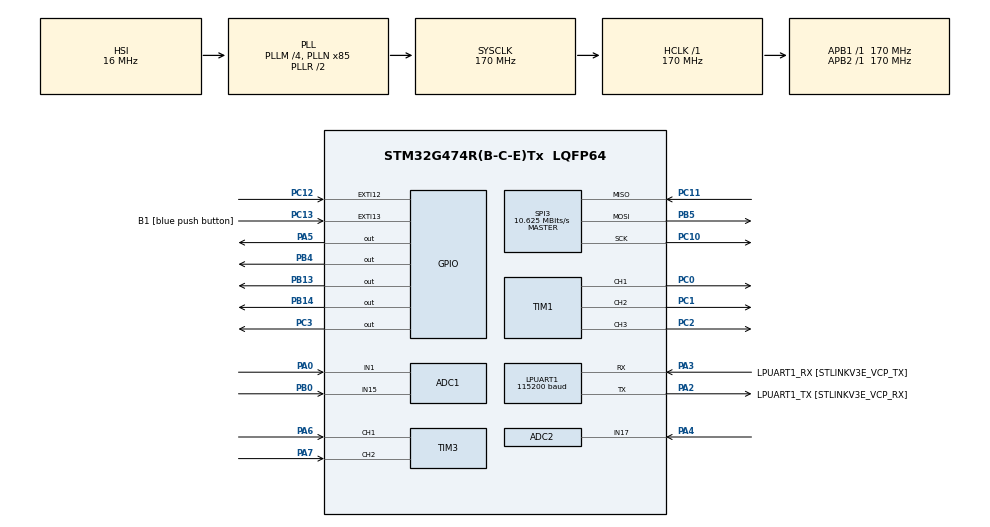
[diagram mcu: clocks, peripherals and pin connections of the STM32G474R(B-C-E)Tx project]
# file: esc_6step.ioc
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ADC1.EnableInjectedConversion=ENABLE
ADC1.EnableRegularConversion=DISABLE
ADC1.ExternalTrigInjecConv=ADC_EXTERNALTRIGINJEC_T1_TRGO
ADC1.InjNumberOfConversion=1
ADC1.InjectedChannel-2\#ChannelInjectedConversion=ADC_CHANNEL_1
ADC1.InjectedOffsetNumber-2\#ChannelInjectedConversion=ADC_OFFSET_NONE
ADC1.InjectedRank-2\#ChannelInjectedConversion=1
ADC1.InjectedSamplingTime-2\#ChannelInjectedConversion=ADC_SAMPLETIME_2CYCLES_5
ADC1.Mode=ADC_DUALMODE_INJECSIMULT
ADC1.TwoSamplingDelay=ADC_TWOSAMPLINGDELAY_1CYCLE
ADC1.master=1
ADC2.EnableInjectedConversion=ENABLE
ADC2.EnableRegularConversion=DISABLE
ADC2.InjNumberOfConversion=1
ADC2.InjectedChannel-11\#ChannelInjectedConversion=ADC_CHANNEL_17
ADC2.InjectedOffsetNumber-11\#ChannelInjectedConversion=ADC_OFFSET_NONE
ADC2.InjectedRank-11\#ChannelInjectedConversion=1
ADC2.InjectedSamplingTime-11\#ChannelInjectedConversion=ADC_SAMPLETIME_2CYCLES_5
ADC2.Mode=ADC_DUALMODE_INJECSIMULT
ADC2.Rank1_Channel=ADC_CHANNEL_17
Dma.Request0=SPI3_RX
Dma.Request1=SPI3_TX
Dma.SPI3_RX.0.Direction=DMA_PERIPH_TO_MEMORY
Dma.SPI3_RX.0.EventEnable=DISABLE
Dma.SPI3_RX.0.Instance=DMA1_Channel1
Dma.SPI3_RX.0.MemDataAlignment=DMA_MDATAALIGN_BYTE
Dma.SPI3_RX.0.MemInc=DMA_MINC_ENABLE
Dma.SPI3_RX.0.Mode=DMA_NORMAL
Dma.SPI3_RX.0.PeriphDataAlignment=DMA_PDATAALIGN_BYTE
Dma.SPI3_RX.0.PeriphInc=DMA_PINC_DISABLE
Dma.SPI3_RX.0.Polarity=HAL_DMAMUX_REQ_GEN_RISING
Dma.SPI3_RX.0.Priority=DMA_PRIORITY_LOW
Dma.SPI3_RX.0.RequestNumber=1
Dma.SPI3_RX.0.SignalID=NONE
Dma.SPI3_RX.0.SyncEnable=DISABLE
Dma.SPI3_RX.0.SyncPolarity=HAL_DMAMUX_SYNC_NO_EVENT
Dma.SPI3_RX.0.SyncRequestNumber=1
Dma.SPI3_RX.0.SyncSignalID=NONE
Dma.SPI3_TX.1.Direction=DMA_MEMORY_TO_PERIPH
Dma.SPI3_TX.1.EventEnable=DISABLE
Dma.SPI3_TX.1.Instance=DMA1_Channel2
Dma.SPI3_TX.1.MemDataAlignment=DMA_MDATAALIGN_BYTE
Dma.SPI3_TX.1.MemInc=DMA_MINC_ENABLE
Dma.SPI3_TX.1.Mode=DMA_NORMAL
Dma.SPI3_TX.1.PeriphDataAlignment=DMA_PDATAALIGN_BYTE
Dma.SPI3_TX.1.PeriphInc=DMA_PINC_DISABLE
Dma.SPI3_TX.1.Polarity=HAL_DMAMUX_REQ_GEN_RISING
Dma.SPI3_TX.1.Priority=DMA_PRIORITY_LOW
Dma.SPI3_TX.1.RequestNumber=1
Dma.SPI3_TX.1.SignalID=NONE
Dma.SPI3_TX.1.SyncEnable=DISABLE
Dma.SPI3_TX.1.SyncPolarity=HAL_DMAMUX_SYNC_NO_EVENT
Dma.SPI3_TX.1.SyncRequestNumber=1
Dma.SPI3_TX.1.SyncSignalID=NONE
LPUART1.BaudRate=115200
LPUART1.WordLength=UART_WORDLENGTH_8B
Mcu.Family=STM32G4
Mcu.Name=STM32G474R(B-C-E)Tx
Mcu.Package=LQFP64
NVIC.DMA1_Channel1_IRQn=true\:0\:0\:false\:false\:true\:false\:true\:true
NVIC.DMA1_Channel2_IRQn=true\:0\:0\:false\:false\:true\:false\:true\:true
NVIC.PriorityGroup=NVIC_PRIORITYGROUP_4
PA0.Mode=IN1-Single-Ended
PA0.Signal=ADC1_IN1
PA13.GPIO_Label=T_SWDIO
PA13.Mode=Serial_Wire
PA13.Signal=SYS_JTMS-SWDIO
PA14.GPIO_Label=T_SWCLK
PA14.Mode=Serial_Wire
PA14.Signal=SYS_JTCK-SWCLK
PA2.GPIO_Label=LPUART1_TX [STLINKV3E_VCP_RX]
PA2.Mode=Asynchronous
PA2.Signal=LPUART1_TX
PA3.GPIO_Label=LPUART1_RX [STLINKV3E_VCP_TX]
PA3.Mode=Asynchronous
PA3.Signal=LPUART1_RX
PA4.Mode=IN17-Single-Ended
PA4.Signal=ADC2_IN17
PA5.Signal=GPIO_Output
PA6.Signal=S_TIM3_CH1
PA7.Signal=S_TIM3_CH2
PB0.Mode=IN15-Single-Ended
PB0.Signal=ADC1_IN15
PB13.Signal=GPIO_Output
PB14.Signal=GPIO_Output
PB3.GPIO_Label=T_SWO
PB3.Signal=SYS_JTDO-SWO
PB4.Signal=GPIO_Output
PB5.Mode=Full_Duplex_Master
PB5.Signal=SPI3_MOSI
PC0.Signal=S_TIM1_CH1
PC1.Signal=S_TIM1_CH2
PC10.Mode=Full_Duplex_Master
PC10.Signal=SPI3_SCK
PC11.Mode=Full_Duplex_Master
PC11.Signal=SPI3_MISO
PC12.GPIO_ModeDefaultEXTI=GPIO_MODE_IT_RISING
PC12.Signal=GPXTI12
PC13.GPIO_Label=B1 [blue push button]
PC13.GPIO_ModeDefaultEXTI=GPIO_MODE_IT_RISING
PC13.Signal=GPXTI13
PC14-OSC32_IN.Mode=LSE-External-Oscillator
PC14-OSC32_IN.Signal=RCC_OSC32_IN
PC15-OSC32_OUT.Mode=LSE-External-Oscillator
PC15-OSC32_OUT.Signal=RCC_OSC32_OUT
PC2.Signal=S_TIM1_CH3
PC3.Signal=GPIO_Output
PF0-OSC_IN.Mode=HSE-External-Oscillator
PF0-OSC_IN.Signal=RCC_OSC_IN
PF1-OSC_OUT.Mode=HSE-External-Oscillator
PF1-OSC_OUT.Signal=RCC_OSC_OUT
ProjectManager.HeapSize=0x200
ProjectManager.StackSize=0x400
ProjectManager.TargetToolchain=STM32CubeIDE
RCC.ADC12Freq_Value=170000000
RCC.ADC345Freq_Value=170000000
RCC.AHBFreq_Value=170000000
RCC.APB1Freq_Value=170000000
RCC.APB1TimFreq_Value=170000000
RCC.APB2Freq_Value=170000000
RCC.APB2TimFreq_Value=170000000
RCC.CortexFreq_Value=170000000
RCC.EXTERNAL_CLOCK_VALUE=12288000
RCC.HCLKFreq_Value=170000000
RCC.HSE_VALUE=24000000
RCC.HSI48_VALUE=48000000
RCC.HSI_VALUE=16000000
RCC.PLLM=RCC_PLLM_DIV4
RCC.PLLN=85
RCC.RTCClockSelection=RCC_RTCCLKSOURCE_LSE
RCC.SYSCLKFreq_VALUE=170000000
RCC.SYSCLKSource=RCC_SYSCLKSOURCE_PLLCLK
RCC.USBFreq_Value=170000000
RCC.VCOOutputFreq_Value=340000000
SH.S_TIM1_CH1.0=TIM1_CH1,PWM Generation1 CH1
SH.S_TIM1_CH2.0=TIM1_CH2,PWM Generation2 CH2
SH.S_TIM1_CH3.0=TIM1_CH3,PWM Generation3 CH3
SH.S_TIM3_CH1.0=TIM3_CH1,Encoder_Interface
SH.S_TIM3_CH2.0=TIM3_CH2,Encoder_Interface
SPI3.BaudRatePrescaler=SPI_BAUDRATEPRESCALER_16
SPI3.CalculateBaudRate=10.625 MBits/s
SPI3.DataSize=SPI_DATASIZE_8BIT
SPI3.Direction=SPI_DIRECTION_2LINES
SPI3.Mode=SPI_MODE_MASTER
SPI3.VirtualType=VM_MASTER
TIM1.Channel-PWM\ Generation1\ CH1=TIM_CHANNEL_1
TIM1.Channel-PWM\ Generation2\ CH2=TIM_CHANNEL_2
TIM1.Channel-PWM\ Generation3\ CH3=TIM_CHANNEL_3
TIM1.Channel-PWM\ Generation4\ No\ Output=TIM_CHANNEL_4
TIM1.CounterMode=TIM_COUNTERMODE_CENTERALIGNED1
TIM1.TIM_MasterOutputTrigger=TIM_TRGO_OC4REF
TIM3.EncoderMode=TIM_ENCODERMODE_TI12
VP_DAC1_VS_DACI1.Mode=DAC_OUT1_Int
VP_SYS_VS_DBSignals.Mode=DisableDeadBatterySignals
VP_TIM1_VS_no_output4.Mode=PWM Generation4 No Output
board=NUCLEO-G474RE

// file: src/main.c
/* USER CODE BEGIN Header */
/**
  ******************************************************************************
  * @file           : main.c
  * @brief          : Main program body
  ******************************************************************************
  * @attention
  *
  * Copyright (c) 2025 STMicroelectronics.
  * All rights reserved.
  *
  * This software is licensed under terms that can be found in the LICENSE file
  * in the root directory of this software component.
  * If no LICENSE file comes with this software, it is provided AS-IS.
  *
  ******************************************************************************
  */
/* USER CODE END Header */
#include "main.h"

/* USER CODE BEGIN Includes */

#include <stdio.h>
/* USER CODE END Includes */

/* USER CODE BEGIN PM */
#ifndef __HAL_TIM_SET_TRGO
#define __HAL_TIM_SET_TRGO(__HANDLE__, __TRGO__) \
  MODIFY_REG((__HANDLE__)->Instance->CR2, TIM_CR2_MMS, (__TRGO__))
#endif
/* USER CODE END PM */

ADC_HandleTypeDef hadc1;
ADC_HandleTypeDef hadc2;

DAC_HandleTypeDef hdac1;

UART_HandleTypeDef hlpuart1;

SPI_HandleTypeDef hspi3;
DMA_HandleTypeDef hdma_spi3_rx;
DMA_HandleTypeDef hdma_spi3_tx;

TIM_HandleTypeDef htim1;
TIM_HandleTypeDef htim3;

/* USER CODE BEGIN PV */
#define ADC_BUF_SZ (2048)

// MACRO
#define LPF(x, y, A, B) ( x*A + y*B )
#define CPU_CLK (170.0E6)
int16_t adc_buf[ADC_BUF_SZ][3];

// param
#define MOD_FREQ (30000.0)
#define MOTOR_PP (7.0f)
#define ENC_CPR (4096) // 1024 cpr quadrature

// global
const float M_PI = 3.14159265358979323846f;
uint16_t per = (int)( CPU_CLK / (2*MOD_FREQ) );
float amplitude = 0.55f;        /* 0-1 is max */
const float freq_start = 255.0f;  // hz
float ALFA_RPM = 0.003;
int adc_ndx = 0;
volatile int32_t adc1_raw = 0;
volatile int32_t adc2_raw = 0;
volatile int32_t adc3_raw = 0;
const uint32_t MEASURE_THRESH = ADC_BUF_SZ / 2;
float phase = 0.0f;
float phase_increment = 0.0f;
int state = 0; // 0=uninitialized, 1=calibration, 2=running
uint32_t adc_zero = 0;
uint16_t encpos0 = 0;
int16_t del_count = 0;
float rpm = 0.0f;

/* USER CODE END PV */

void SystemClock_Config(void);
static void MX_GPIO_Init(void);
static void MX_DMA_Init(void);
static void MX_DAC1_Init(void);
static void MX_LPUART1_UART_Init(void);
static void MX_TIM1_Init(void);
static void MX_ADC1_Init(void);
static void MX_SPI3_Init(void);
static void MX_ADC2_Init(void);
static void MX_TIM3_Init(void);
/* USER CODE BEGIN PFP */
#define PUTCHAR_PROTOTYPE int __io_putchar(int ch)
void generate_3phase_ac(float amplitude);
void SetInjectedBEMFChannel(ADC_HandleTypeDef *hadc, uint32_t channel);

/* USER CODE END PFP */

/* USER CODE BEGIN 0 */

void ADC1_2_IRQHandler(void)
{
    HAL_ADC_IRQHandler(&hadc1);

    // technically shouldn't be needed since ADC2 has interruptsdisabled
    //HAL_ADC_IRQHandler(&hadc2);

}

void HAL_ADCEx_InjectedConvCpltCallback(ADC_HandleTypeDef *hadc)
{

  if (hadc->Instance == ADC1)
  {
    adc1_raw = HAL_ADCEx_InjectedGetValue(&hadc1, ADC_INJECTED_RANK_1) - adc_zero;
    adc2_raw = HAL_ADCEx_InjectedGetValue(&hadc2, ADC_INJECTED_RANK_1) - adc_zero;
  }
  else
  {
    printf("Warning: ADC callback from unknown ADC instance!\n");
  }

  adc_buf[adc_ndx][0] = adc1_raw;
  adc_buf[adc_ndx][1] = adc2_raw;
  adc_buf[adc_ndx][2] = adc3_raw;

  if (state == 1)
  {
    // measure ref voltage before motor running
    if (adc_ndx < MEASURE_THRESH)
    {
      ++adc_ndx;
    }

  }
  else if (state == 2)
  {
    adc3_raw = 0 - adc1_raw - adc2_raw;

    generate_3phase_ac(amplitude);
    ++adc_ndx;
  }

  if (adc_ndx >= ADC_BUF_SZ) adc_ndx = 0;
}

void generate_3phase_ac(float amplitude) {
    float phase_a = sinf(phase + 0.0f * M_PI / 3.0f);
    float phase_b = sinf(phase + 2.0f * M_PI / 3.0f);
    float phase_c = sinf(phase + 4.0f * M_PI / 3.0f);

    uint16_t duty_a = (uint16_t)((phase_a + 1.0f) * 0.5f * amplitude * per);
    uint16_t duty_b = (uint16_t)((phase_b + 1.0f) * 0.5f * amplitude * per);
    uint16_t duty_c = (uint16_t)((phase_c + 1.0f) * 0.5f * amplitude * per);

    if (duty_a > per) duty_a = per;
    if (duty_b > per) duty_b = per;
    if (duty_c > per) duty_c = per;

    __HAL_TIM_SET_COMPARE(&htim1, TIM_CHANNEL_1, duty_a);
    __HAL_TIM_SET_COMPARE(&htim1, TIM_CHANNEL_2, duty_b);
    __HAL_TIM_SET_COMPARE(&htim1, TIM_CHANNEL_3, duty_c);

    phase += phase_increment;
    if (phase >= 2.0f * M_PI) phase -= 2.0f * M_PI;
}

void SetInjectedBEMFChannel(ADC_HandleTypeDef *hadc, uint32_t channel)
{
  ADC_InjectionConfTypeDef sConfigInjected = {0};

  sConfigInjected.InjectedRank = ADC_INJECTED_RANK_1;
  sConfigInjected.InjectedSamplingTime = ADC_SAMPLETIME_2CYCLES_5;
  sConfigInjected.InjectedSingleDiff = ADC_SINGLE_ENDED;
  sConfigInjected.InjectedOffsetNumber = ADC_OFFSET_NONE;
  sConfigInjected.InjectedOffset = 0;
  sConfigInjected.InjectedNbrOfConversion = 1;
  sConfigInjected.InjectedDiscontinuousConvMode = DISABLE;
  sConfigInjected.AutoInjectedConv = DISABLE;
  sConfigInjected.QueueInjectedContext = DISABLE;
  sConfigInjected.InjecOversamplingMode = DISABLE;

  if (hadc->Instance == ADC1)
  {
    sConfigInjected.InjectedChannel = channel;
    sConfigInjected.ExternalTrigInjecConv = ADC_EXTERNALTRIGINJEC_T1_TRGO;
    sConfigInjected.ExternalTrigInjecConvEdge = ADC_EXTERNALTRIGINJECCONV_EDGE_RISING;
    if (HAL_ADCEx_InjectedConfigChannel(&hadc1, &sConfigInjected) != HAL_OK)
    {
      Error_Handler();
    }

  }
  else if (hadc->Instance == ADC2)
  {
    sConfigInjected.InjectedChannel = channel;
    sConfigInjected.ExternalTrigInjecConv = ADC_INJECTED_SOFTWARE_START;
    sConfigInjected.ExternalTrigInjecConvEdge = ADC_EXTERNALTRIGINJECCONV_EDGE_NONE;
    if (HAL_ADCEx_InjectedConfigChannel(&hadc2, &sConfigInjected) != HAL_OK)
    {
      Error_Handler();
    }
  }
}

void EXTI15_10_IRQHandler(void)
{
  HAL_GPIO_EXTI_IRQHandler(GPIO_PIN_13 );
  HAL_GPIO_EXTI_IRQHandler(GPIO_PIN_12 );
}

void HAL_GPIO_EXTI_Callback(uint16_t GPIO_Pin)
{
  if (GPIO_Pin == GPIO_PIN_13)
  {
    HAL_GPIO_TogglePin(GPIOA, GPIO_PIN_5);  // e.g., toggle an LED

  }
  else if (GPIO_Pin == GPIO_PIN_12)
  {

  }

}

/* USER CODE END 0 */

int main(void)
{

  /* MCU Configuration--------------------------------------------------------*/

  /* Reset of all peripherals, Initializes the Flash interface and the Systick. */
  HAL_Init();

  /* Configure the system clock */
  SystemClock_Config();

  /* Initialize all configured peripherals */
  MX_GPIO_Init();
  MX_DMA_Init();
  MX_DAC1_Init();
  MX_LPUART1_UART_Init();
  MX_TIM1_Init();
  MX_ADC1_Init();
  MX_SPI3_Init();
  MX_ADC2_Init();
  MX_TIM3_Init();
  /* USER CODE BEGIN 2 */
  SetInjectedBEMFChannel(&hadc1, ADC_CHANNEL_15);
  SetInjectedBEMFChannel(&hadc2, ADC_CHANNEL_17);

  phase_increment = 2.0 * M_PI * freq_start / MOD_FREQ;

  HAL_Delay(50);

  if (HAL_ADCEx_Calibration_Start(&hadc1, ADC_SINGLE_ENDED) != HAL_OK)
  {
    Error_Handler();
  }
  if (HAL_ADCEx_Calibration_Start(&hadc2, ADC_SINGLE_ENDED) != HAL_OK)
  {
    Error_Handler();
  }

  // enable ADC interrupt
  __HAL_ADC_ENABLE_IT(&hadc1, ADC_IT_JEOC);
  __HAL_ADC_GET_IT_SOURCE(&hadc1, ADC_IT_JEOC);
  __HAL_ADC_DISABLE_IT(&hadc2, ADC_IT_JEOC);
  __HAL_ADC_GET_IT_SOURCE(&hadc2, ADC_IT_JEOC);

  /* 1. Start ADC2 (Slave) FIRST and WITHOUT interrupts */
  HAL_ADCEx_InjectedStart(&hadc2);
  /* 2. Start ADC1 (Master) SECOND with interrupts */
  HAL_ADCEx_InjectedStart_IT(&hadc1);

  HAL_NVIC_SetPriority(ADC1_2_IRQn, 0, 0);
  HAL_NVIC_EnableIRQ(ADC1_2_IRQn);

  // enable GPIO interrupts
  HAL_NVIC_SetPriority(EXTI15_10_IRQn, 0, 0);
  HAL_NVIC_EnableIRQ(EXTI15_10_IRQn);

  // enable
  HAL_GPIO_WritePin(GPIOC, GPIO_PIN_3, GPIO_PIN_SET);

  CoreDebug->DEMCR |= CoreDebug_DEMCR_TRCENA_Msk;
  DWT->CYCCNT = 0;
  DWT->CTRL |= DWT_CTRL_CYCCNTENA_Msk;

  /* USER CODE END 2 */

  /* Infinite loop */
  /* USER CODE BEGIN WHILE */

  uint32_t TASK_HANDLER_LIM = CPU_CLK/5;  // 5hz
  uint32_t TASK_HANDLER_EL = 0;
  uint32_t TASK_HANDLER_t0 = DWT->CYCCNT ;

  uint32_t MON_HANDLER_LIM = CPU_CLK/10000; // 10Khz
  uint32_t MON_HANDLER_EL = 0;
  uint32_t MON_HANDLER_t0 = DWT->CYCCNT ;

  // start counting
  HAL_TIM_Encoder_Start(&htim3, TIM_CHANNEL_ALL);
  HAL_TIM_PWM_Start(&htim1, TIM_CHANNEL_1);
  HAL_TIM_PWM_Start(&htim1, TIM_CHANNEL_2);
  HAL_TIM_PWM_Start(&htim1, TIM_CHANNEL_3);
  HAL_TIM_PWM_Start(&htim1, TIM_CHANNEL_4);
  HAL_TIMEx_PWMN_Start(&htim1, TIM_CHANNEL_1);

  state = 1;
  printf("\r\n\r\n\r\ncalibrating ref voltage\r\n\r\n\r\n");

  HAL_Delay(200);
  TASK_HANDLER_t0 = DWT->CYCCNT ;
  while (1)
  {
    TASK_HANDLER_EL = DWT->CYCCNT - TASK_HANDLER_t0;
    if (TASK_HANDLER_EL >= TASK_HANDLER_LIM)
    {
      //printf("task\r\n");/
      // run task
      TASK_HANDLER_t0 = DWT->CYCCNT;
      if (state == 1)
      {
        if (adc_ndx >= MEASURE_THRESH)
        {
          unsigned x=0;
          unsigned mean = 0;
          unsigned min = 4096, max = 0;
          float one_over_sz = 1.0 / MEASURE_THRESH;
          for (int i=0; i<MEASURE_THRESH; i++ )
          {
            x = adc_buf[i][0];
            min = (x < min) ? x : min;
            max = (x > max) ? x : max;
            mean = mean + x * one_over_sz;
            //printf("ndx=%d, raw=%d val=%f\r\n", i, adc_buf[i] ,x);
          }
          adc_zero = (int32_t)mean + 0.5;
          printf("calibration done, adc_zero = %d, min = %d, max = %d\r\n", adc_zero, min, max);
          // set ref channel for startup
          SetInjectedBEMFChannel(&hadc1, ADC_CHANNEL_1);
          SetInjectedBEMFChannel(&hadc2, ADC_CHANNEL_17);

          printf("running,ref_v = %d\r\n", adc_zero);
          memset(adc_buf, 0, sizeof(adc_buf));
          HAL_Delay(100);
          state = 2;
        }

      }
      else if (state == 2)
      {
        // RPM
        uint16_t encpos = __HAL_TIM_GET_COUNTER(&htim3);
        if ( encpos0!=0 )
        {
          del_count = (int)encpos - encpos0;
          rpm = 60.0 * (float) del_count / (ENC_CPR * 0.2);

        }
        encpos0=encpos;
      }

    }

    MON_HANDLER_EL = DWT->CYCCNT - MON_HANDLER_t0;
    if (MON_HANDLER_EL >= MON_HANDLER_LIM)
    {
      //if (state == 3)
      {
        int16_t encpos = __HAL_TIM_GET_COUNTER(&htim3);
        printf("%d, %d, %d, %u, %d, %f\r\n", adc1_raw, adc2_raw, adc3_raw, (uint16_t)encpos, del_count, rpm);
      }
      MON_HANDLER_t0 = DWT->CYCCNT;
    }

    /* USER CODE END WHILE */

  }
}

void SystemClock_Config(void)
{
  RCC_OscInitTypeDef RCC_OscInitStruct = {0};
  RCC_ClkInitTypeDef RCC_ClkInitStruct = {0};

  /** Configure the main internal regulator output voltage
  */
  HAL_PWREx_ControlVoltageScaling(PWR_REGULATOR_VOLTAGE_SCALE1_BOOST);

  /** Initializes the RCC Oscillators according to the specified parameters
  * in the RCC_OscInitTypeDef structure.
  */
  RCC_OscInitStruct.OscillatorType = RCC_OSCILLATORTYPE_HSI;
  RCC_OscInitStruct.HSIState = RCC_HSI_ON;
  RCC_OscInitStruct.HSICalibrationValue = RCC_HSICALIBRATION_DEFAULT;
  RCC_OscInitStruct.PLL.PLLState = RCC_PLL_ON;
  RCC_OscInitStruct.PLL.PLLSource = RCC_PLLSOURCE_HSI;
  RCC_OscInitStruct.PLL.PLLM = RCC_PLLM_DIV4;
  RCC_OscInitStruct.PLL.PLLN = 85;
  RCC_OscInitStruct.PLL.PLLP = RCC_PLLP_DIV2;
  RCC_OscInitStruct.PLL.PLLQ = RCC_PLLQ_DIV2;
  RCC_OscInitStruct.PLL.PLLR = RCC_PLLR_DIV2;
  if (HAL_RCC_OscConfig(&RCC_OscInitStruct) != HAL_OK)
  {
    Error_Handler();
  }

  /** Initializes the CPU, AHB and APB buses clocks
  */
  RCC_ClkInitStruct.ClockType = RCC_CLOCKTYPE_HCLK|RCC_CLOCKTYPE_SYSCLK
                              |RCC_CLOCKTYPE_PCLK1|RCC_CLOCKTYPE_PCLK2;
  RCC_ClkInitStruct.SYSCLKSource = RCC_SYSCLKSOURCE_PLLCLK;
  RCC_ClkInitStruct.AHBCLKDivider = RCC_SYSCLK_DIV1;
  RCC_ClkInitStruct.APB1CLKDivider = RCC_HCLK_DIV1;
  RCC_ClkInitStruct.APB2CLKDivider = RCC_HCLK_DIV1;

  if (HAL_RCC_ClockConfig(&RCC_ClkInitStruct, FLASH_LATENCY_4) != HAL_OK)
  {
    Error_Handler();
  }
}

static void MX_ADC1_Init(void)
{

  ADC_MultiModeTypeDef multimode = {0};
  ADC_InjectionConfTypeDef sConfigInjected = {0};

  /** Common config
  */
  hadc1.Instance = ADC1;
  hadc1.Init.ClockPrescaler = ADC_CLOCK_SYNC_PCLK_DIV4;
  hadc1.Init.Resolution = ADC_RESOLUTION_12B;
  hadc1.Init.DataAlign = ADC_DATAALIGN_RIGHT;
  hadc1.Init.GainCompensation = 0;
  hadc1.Init.ScanConvMode = ADC_SCAN_DISABLE;
  hadc1.Init.EOCSelection = ADC_EOC_SINGLE_CONV;
  hadc1.Init.LowPowerAutoWait = DISABLE;
  hadc1.Init.ContinuousConvMode = DISABLE;
  hadc1.Init.NbrOfConversion = 1;
  hadc1.Init.DiscontinuousConvMode = DISABLE;
  hadc1.Init.DMAContinuousRequests = DISABLE;
  hadc1.Init.Overrun = ADC_OVR_DATA_PRESERVED;
  hadc1.Init.OversamplingMode = DISABLE;
  if (HAL_ADC_Init(&hadc1) != HAL_OK)
  {
    Error_Handler();
  }

  /** Configure the ADC multi-mode
  */
  multimode.Mode = ADC_DUALMODE_INJECSIMULT;
  multimode.DMAAccessMode = ADC_DMAACCESSMODE_DISABLED;
  multimode.TwoSamplingDelay = ADC_TWOSAMPLINGDELAY_1CYCLE;
  if (HAL_ADCEx_MultiModeConfigChannel(&hadc1, &multimode) != HAL_OK)
  {
    Error_Handler();
  }

  /** Configure Injected Channel
  */
  sConfigInjected.InjectedChannel = ADC_CHANNEL_1;
  sConfigInjected.InjectedRank = ADC_INJECTED_RANK_1;
  sConfigInjected.InjectedSamplingTime = ADC_SAMPLETIME_2CYCLES_5;
  sConfigInjected.InjectedSingleDiff = ADC_SINGLE_ENDED;
  sConfigInjected.InjectedOffsetNumber = ADC_OFFSET_NONE;
  sConfigInjected.InjectedOffset = 0;
  sConfigInjected.InjectedNbrOfConversion = 1;
  sConfigInjected.InjectedDiscontinuousConvMode = DISABLE;
  sConfigInjected.AutoInjectedConv = DISABLE;
  sConfigInjected.QueueInjectedContext = DISABLE;
  sConfigInjected.ExternalTrigInjecConv = ADC_EXTERNALTRIGINJEC_T1_TRGO;
  sConfigInjected.ExternalTrigInjecConvEdge = ADC_EXTERNALTRIGINJECCONV_EDGE_RISING;
  sConfigInjected.InjecOversamplingMode = DISABLE;
  if (HAL_ADCEx_InjectedConfigChannel(&hadc1, &sConfigInjected) != HAL_OK)
  {
    Error_Handler();
  }

}

static void MX_ADC2_Init(void)
{

  ADC_InjectionConfTypeDef sConfigInjected = {0};

  /** Common config
  */
  hadc2.Instance = ADC2;
  hadc2.Init.ClockPrescaler = ADC_CLOCK_SYNC_PCLK_DIV4;
  hadc2.Init.Resolution = ADC_RESOLUTION_12B;
  hadc2.Init.DataAlign = ADC_DATAALIGN_RIGHT;
  hadc2.Init.GainCompensation = 0;
  hadc2.Init.ScanConvMode = ADC_SCAN_DISABLE;
  hadc2.Init.EOCSelection = ADC_EOC_SINGLE_CONV;
  hadc2.Init.LowPowerAutoWait = DISABLE;
  hadc2.Init.ContinuousConvMode = DISABLE;
  hadc2.Init.NbrOfConversion = 1;
  hadc2.Init.DiscontinuousConvMode = DISABLE;
  hadc2.Init.DMAContinuousRequests = DISABLE;
  hadc2.Init.Overrun = ADC_OVR_DATA_PRESERVED;
  hadc2.Init.OversamplingMode = DISABLE;
  if (HAL_ADC_Init(&hadc2) != HAL_OK)
  {
    Error_Handler();
  }

  /** Configure Injected Channel
  */
  sConfigInjected.InjectedChannel = ADC_CHANNEL_17;
  sConfigInjected.InjectedRank = ADC_INJECTED_RANK_1;
  sConfigInjected.InjectedSamplingTime = ADC_SAMPLETIME_2CYCLES_5;
  sConfigInjected.InjectedSingleDiff = ADC_SINGLE_ENDED;
  sConfigInjected.InjectedOffsetNumber = ADC_OFFSET_NONE;
  sConfigInjected.InjectedOffset = 0;
  sConfigInjected.InjectedNbrOfConversion = 1;
  sConfigInjected.InjectedDiscontinuousConvMode = DISABLE;
  sConfigInjected.AutoInjectedConv = DISABLE;
  sConfigInjected.QueueInjectedContext = DISABLE;
  sConfigInjected.InjecOversamplingMode = DISABLE;
  if (HAL_ADCEx_InjectedConfigChannel(&hadc2, &sConfigInjected) != HAL_OK)
  {
    Error_Handler();
  }

}

static void MX_DAC1_Init(void)
{

  DAC_ChannelConfTypeDef sConfig = {0};

  /** DAC Initialization
  */
  hdac1.Instance = DAC1;
  if (HAL_DAC_Init(&hdac1) != HAL_OK)
  {
    Error_Handler();
  }

  /** DAC channel OUT1 config
  */
  sConfig.DAC_HighFrequency = DAC_HIGH_FREQUENCY_INTERFACE_MODE_AUTOMATIC;
  sConfig.DAC_DMADoubleDataMode = DISABLE;
  sConfig.DAC_SignedFormat = DISABLE;
  sConfig.DAC_SampleAndHold = DAC_SAMPLEANDHOLD_DISABLE;
  sConfig.DAC_Trigger = DAC_TRIGGER_NONE;
  sConfig.DAC_Trigger2 = DAC_TRIGGER_NONE;
  sConfig.DAC_OutputBuffer = DAC_OUTPUTBUFFER_DISABLE;
  sConfig.DAC_ConnectOnChipPeripheral = DAC_CHIPCONNECT_INTERNAL;
  sConfig.DAC_UserTrimming = DAC_TRIMMING_FACTORY;
  if (HAL_DAC_ConfigChannel(&hdac1, &sConfig, DAC_CHANNEL_1) != HAL_OK)
  {
    Error_Handler();
  }

}

static void MX_LPUART1_UART_Init(void)
{

  hlpuart1.Instance = LPUART1;
  hlpuart1.Init.BaudRate = 2000000;
  hlpuart1.Init.WordLength = UART_WORDLENGTH_8B;
  hlpuart1.Init.StopBits = UART_STOPBITS_1;
  hlpuart1.Init.Parity = UART_PARITY_NONE;
  hlpuart1.Init.Mode = UART_MODE_TX_RX;
  hlpuart1.Init.HwFlowCtl = UART_HWCONTROL_NONE;
  hlpuart1.Init.OneBitSampling = UART_ONE_BIT_SAMPLE_DISABLE;
  hlpuart1.Init.ClockPrescaler = UART_PRESCALER_DIV1;
  hlpuart1.AdvancedInit.AdvFeatureInit = UART_ADVFEATURE_NO_INIT;
  if (HAL_UART_Init(&hlpuart1) != HAL_OK)
  {
    Error_Handler();
  }
  if (HAL_UARTEx_SetTxFifoThreshold(&hlpuart1, UART_TXFIFO_THRESHOLD_1_8) != HAL_OK)
  {
    Error_Handler();
  }
  if (HAL_UARTEx_SetRxFifoThreshold(&hlpuart1, UART_RXFIFO_THRESHOLD_1_8) != HAL_OK)
  {
    Error_Handler();
  }
  if (HAL_UARTEx_DisableFifoMode(&hlpuart1) != HAL_OK)
  {
    Error_Handler();
  }

}

static void MX_SPI3_Init(void)
{

  /* SPI3 parameter configuration*/
  hspi3.Instance = SPI3;
  hspi3.Init.Mode = SPI_MODE_MASTER;
  hspi3.Init.Direction = SPI_DIRECTION_2LINES;
  hspi3.Init.DataSize = SPI_DATASIZE_8BIT;
  hspi3.Init.CLKPolarity = SPI_POLARITY_LOW;
  hspi3.Init.CLKPhase = SPI_PHASE_1EDGE;
  hspi3.Init.NSS = SPI_NSS_SOFT;
  hspi3.Init.BaudRatePrescaler = SPI_BAUDRATEPRESCALER_16;
  hspi3.Init.FirstBit = SPI_FIRSTBIT_MSB;
  hspi3.Init.TIMode = SPI_TIMODE_DISABLE;
  hspi3.Init.CRCCalculation = SPI_CRCCALCULATION_DISABLE;
  hspi3.Init.CRCPolynomial = 7;
  hspi3.Init.CRCLength = SPI_CRC_LENGTH_DATASIZE;
  hspi3.Init.NSSPMode = SPI_NSS_PULSE_ENABLE;
  if (HAL_SPI_Init(&hspi3) != HAL_OK)
  {
    Error_Handler();
  }

}

static void MX_TIM1_Init(void)
{

  /* USER CODE BEGIN TIM1_Init 0 */
  // You can use TIM_TRGO_UPDATE for end-of-PWM-cycle trigger or TIM_TRGO_OCxREF for precise control if using a spare channel like TIM1_CH4.
  /* USER CODE END TIM1_Init 0 */

  TIM_MasterConfigTypeDef sMasterConfig = {0};
  TIM_OC_InitTypeDef sConfigOC = {0};
  TIM_BreakDeadTimeConfigTypeDef sBreakDeadTimeConfig = {0};

  htim1.Instance = TIM1;
  htim1.Init.Prescaler = 0;
  htim1.Init.CounterMode = TIM_COUNTERMODE_CENTERALIGNED1;
  htim1.Init.Period = per;
  htim1.Init.ClockDivision = TIM_CLOCKDIVISION_DIV1;
  htim1.Init.RepetitionCounter = 0;
  htim1.Init.AutoReloadPreload = TIM_AUTORELOAD_PRELOAD_DISABLE;
  if (HAL_TIM_PWM_Init(&htim1) != HAL_OK)
  {
    Error_Handler();
  }
  sMasterConfig.MasterOutputTrigger = TIM_TRGO_OC4REF;
  sMasterConfig.MasterOutputTrigger2 = TIM_TRGO2_RESET;
  sMasterConfig.MasterSlaveMode = TIM_MASTERSLAVEMODE_DISABLE;
  if (HAL_TIMEx_MasterConfigSynchronization(&htim1, &sMasterConfig) != HAL_OK)
  {
    Error_Handler();
  }
  sConfigOC.OCMode = TIM_OCMODE_PWM1;
  sConfigOC.Pulse = 0;
  sConfigOC.OCPolarity = TIM_OCPOLARITY_HIGH;
  sConfigOC.OCNPolarity = TIM_OCNPOLARITY_HIGH;
  sConfigOC.OCFastMode = TIM_OCFAST_DISABLE;
  sConfigOC.OCIdleState = TIM_OCIDLESTATE_RESET;
  sConfigOC.OCNIdleState = TIM_OCNIDLESTATE_RESET;
  if (HAL_TIM_PWM_ConfigChannel(&htim1, &sConfigOC, TIM_CHANNEL_1) != HAL_OK)
  {
    Error_Handler();
  }
  if (HAL_TIM_PWM_ConfigChannel(&htim1, &sConfigOC, TIM_CHANNEL_2) != HAL_OK)
  {
    Error_Handler();
  }
  if (HAL_TIM_PWM_ConfigChannel(&htim1, &sConfigOC, TIM_CHANNEL_3) != HAL_OK)
  {
    Error_Handler();
  }
  if (HAL_TIM_PWM_ConfigChannel(&htim1, &sConfigOC, TIM_CHANNEL_4) != HAL_OK)
  {
    Error_Handler();
  }
  sBreakDeadTimeConfig.OffStateRunMode = TIM_OSSR_DISABLE;
  sBreakDeadTimeConfig.OffStateIDLEMode = TIM_OSSI_DISABLE;
  sBreakDeadTimeConfig.LockLevel = TIM_LOCKLEVEL_OFF;
  sBreakDeadTimeConfig.DeadTime = 0;
  sBreakDeadTimeConfig.BreakState = TIM_BREAK_DISABLE;
  sBreakDeadTimeConfig.BreakPolarity = TIM_BREAKPOLARITY_HIGH;
  sBreakDeadTimeConfig.BreakFilter = 0;
  sBreakDeadTimeConfig.BreakAFMode = TIM_BREAK_AFMODE_INPUT;
  sBreakDeadTimeConfig.Break2State = TIM_BREAK2_DISABLE;
  sBreakDeadTimeConfig.Break2Polarity = TIM_BREAK2POLARITY_HIGH;
  sBreakDeadTimeConfig.Break2Filter = 0;
  sBreakDeadTimeConfig.Break2AFMode = TIM_BREAK_AFMODE_INPUT;
  sBreakDeadTimeConfig.AutomaticOutput = TIM_AUTOMATICOUTPUT_DISABLE;
  if (HAL_TIMEx_ConfigBreakDeadTime(&htim1, &sBreakDeadTimeConfig) != HAL_OK)
  {
    Error_Handler();
  }
  /* USER CODE BEGIN TIM1_Init 2 */
  //sMasterConfig.MasterOutputTrigger = TIM_TRGO_OC4REF;
  htim1.Instance->CCR4 = per / 2;

  // Manually override the TIM1 TRGO trigger to use CH4 compare event
  __HAL_TIM_SET_TRGO(&htim1, TIM_TRGO_OC4REF);

  /* USER CODE END TIM1_Init 2 */
  HAL_TIM_MspPostInit(&htim1);

}

static void MX_TIM3_Init(void)
{

  TIM_Encoder_InitTypeDef sConfig = {0};
  TIM_MasterConfigTypeDef sMasterConfig = {0};

  htim3.Instance = TIM3;
  htim3.Init.Prescaler = 0;
  htim3.Init.CounterMode = TIM_COUNTERMODE_UP;
  htim3.Init.Period = 65535;
  htim3.Init.ClockDivision = TIM_CLOCKDIVISION_DIV1;
  htim3.Init.AutoReloadPreload = TIM_AUTORELOAD_PRELOAD_DISABLE;
  sConfig.EncoderMode = TIM_ENCODERMODE_TI12;
  sConfig.IC1Polarity = TIM_ICPOLARITY_RISING;
  sConfig.IC1Selection = TIM_ICSELECTION_DIRECTTI;
  sConfig.IC1Prescaler = TIM_ICPSC_DIV1;
  sConfig.IC1Filter = 0;
  sConfig.IC2Polarity = TIM_ICPOLARITY_RISING;
  sConfig.IC2Selection = TIM_ICSELECTION_DIRECTTI;
  sConfig.IC2Prescaler = TIM_ICPSC_DIV1;
  sConfig.IC2Filter = 0;
  if (HAL_TIM_Encoder_Init(&htim3, &sConfig) != HAL_OK)
  {
    Error_Handler();
  }
  sMasterConfig.MasterOutputTrigger = TIM_TRGO_RESET;
  sMasterConfig.MasterSlaveMode = TIM_MASTERSLAVEMODE_DISABLE;
  if (HAL_TIMEx_MasterConfigSynchronization(&htim3, &sMasterConfig) != HAL_OK)
  {
    Error_Handler();
  }

}

static void MX_DMA_Init(void)
{

  /* DMA controller clock enable */
  __HAL_RCC_DMAMUX1_CLK_ENABLE();
  __HAL_RCC_DMA1_CLK_ENABLE();

  /* DMA interrupt init */
  /* DMA1_Channel1_IRQn interrupt configuration */
  HAL_NVIC_SetPriority(DMA1_Channel1_IRQn, 0, 0);
  HAL_NVIC_EnableIRQ(DMA1_Channel1_IRQn);
  /* DMA1_Channel2_IRQn interrupt configuration */
  HAL_NVIC_SetPriority(DMA1_Channel2_IRQn, 0, 0);
  HAL_NVIC_EnableIRQ(DMA1_Channel2_IRQn);

}

static void MX_GPIO_Init(void)
{
  GPIO_InitTypeDef GPIO_InitStruct = {0};

  /* GPIO Ports Clock Enable */
  __HAL_RCC_GPIOC_CLK_ENABLE();
  __HAL_RCC_GPIOF_CLK_ENABLE();
  __HAL_RCC_GPIOA_CLK_ENABLE();
  __HAL_RCC_GPIOB_CLK_ENABLE();

  /*Configure GPIO pin Output Level */
  HAL_GPIO_WritePin(GPIOC, GPIO_PIN_3, GPIO_PIN_RESET);

  /*Configure GPIO pin Output Level */
  HAL_GPIO_WritePin(GPIOA, GPIO_PIN_5, GPIO_PIN_RESET);

  /*Configure GPIO pin Output Level */
  HAL_GPIO_WritePin(GPIOB, GPIO_PIN_13|GPIO_PIN_14|GPIO_PIN_4, GPIO_PIN_RESET);

  /*Configure GPIO pins : B1_Pin PC12 */
  GPIO_InitStruct.Pin = B1_Pin|GPIO_PIN_12;
  GPIO_InitStruct.Mode = GPIO_MODE_IT_RISING;
  GPIO_InitStruct.Pull = GPIO_NOPULL;
  HAL_GPIO_Init(GPIOC, &GPIO_InitStruct);

  /*Configure GPIO pin : PC3 */
  GPIO_InitStruct.Pin = GPIO_PIN_3;
  GPIO_InitStruct.Mode = GPIO_MODE_OUTPUT_PP;
  GPIO_InitStruct.Pull = GPIO_NOPULL;
  GPIO_InitStruct.Speed = GPIO_SPEED_FREQ_LOW;
  HAL_GPIO_Init(GPIOC, &GPIO_InitStruct);

  /*Configure GPIO pin : PA5 */
  GPIO_InitStruct.Pin = GPIO_PIN_5;
  GPIO_InitStruct.Mode = GPIO_MODE_OUTPUT_PP;
  GPIO_InitStruct.Pull = GPIO_NOPULL;
  GPIO_InitStruct.Speed = GPIO_SPEED_FREQ_LOW;
  HAL_GPIO_Init(GPIOA, &GPIO_InitStruct);

  /*Configure GPIO pins : PB13 PB14 PB4 */
  GPIO_InitStruct.Pin = GPIO_PIN_13|GPIO_PIN_14|GPIO_PIN_4;
  GPIO_InitStruct.Mode = GPIO_MODE_OUTPUT_PP;
  GPIO_InitStruct.Pull = GPIO_NOPULL;
  GPIO_InitStruct.Speed = GPIO_SPEED_FREQ_LOW;
  HAL_GPIO_Init(GPIOB, &GPIO_InitStruct);

}

/* USER CODE BEGIN 4 */

PUTCHAR_PROTOTYPE
{
  /* Place your implementation of fputc here */
  /* e.g. write a character to the USART1 and Loop until the end of transmission */
  HAL_UART_Transmit(&hlpuart1, (uint8_t *)&ch, 1, 0xFFFF);

  return ch;
}

/* USER CODE END 4 */

void Error_Handler(void)
{
  __disable_irq();
  while (1)
  {
  }
}
